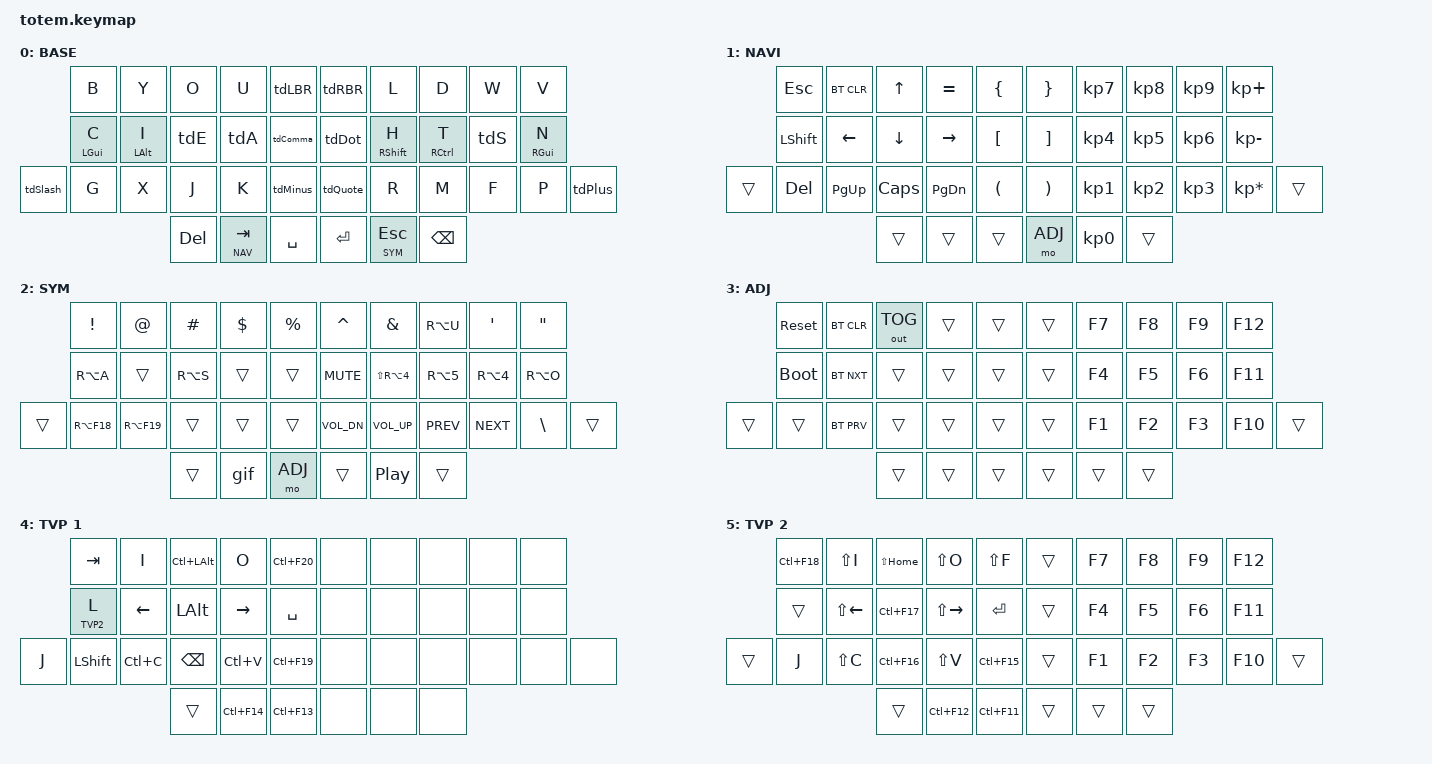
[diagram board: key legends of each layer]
//
//                                                        ▀▀▀▀▀     ▀▀▀▀▀          ▀▀█▀▀
//                                                        ▄▀▀▀▄  ▄  ▄▀▀▀▄  ▄  ▄▀▀▀▄  █  ▄▀▀▀▄
//                                                        █   █  █  █   █  █  █   █  █  █   █
//                                                         ▀▀▀   █   ▀▀▀   █   ▀▀▀   ▀   ▀▀▀
//                                                               █      ▄▄▄█▄▄▄    █   █  
//                                                               ▀      █  █  █     █▄█
//                                                             ▀▀▀▀▀    █  █  █      ▀
//                                                                      ▀  ▀  ▀
//
//                                                 ▗▄▄▄▖▗▖  ▗▖ ▗▄▄▖▗▄▄▖  ▗▄▖ ▗▖  ▗▖▗▖  ▗▖▗▄▄▄▖▗▄▄▖ 
//                                                 ▐▌   ▐▛▚▖▐▌▐▌   ▐▌ ▐▌▐▌ ▐▌▐▛▚▞▜▌▐▛▚▞▜▌▐▌   ▐▌ ▐▌
//                                                 ▐▛▀▀▘▐▌ ▝▜▌▐▌▝▜▌▐▛▀▚▖▐▛▀▜▌▐▌  ▐▌▐▌  ▐▌▐▛▀▀▘▐▛▀▚▖
//                                                 ▐▙▄▄▖▐▌  ▐▌▝▚▄▞▘▐▌ ▐▌▐▌ ▐▌▐▌  ▐▌▐▌  ▐▌▐▙▄▄▖▐▌ ▐▌
//                                                    
//                                                    
//            
// ▄▄▄▄▄▄▄▄▄▄▄▄▄▄▄▄▄▄▄▄▄▄▄▄▄▄▄▄▄▄▄▄▄▄▄▄▄▄▄▄▄▄▄▄▄▄▄▄▄▄▄▄▄▄▄▄▄▄▄▄▄▄▄▄▄▄▄▄▄▄▄▄▄▄▄▄▄▄▄▄▄▄▄▄▄▄▄▄▄▄▄▄▄▄▄▄▄▄▄▄▄▄▄▄▄▄▄▄▄▄▄▄▄▄▄▄▄▄▄▄▄▄▄▄▄▄▄▄▄▄▄▄▄▄▄▄▄▄▄▄▄▄▄▄▄▄▄▄▄
       

#include <behaviors.dtsi>
#include <dt-bindings/zmk/keys.h>
#include <dt-bindings/zmk/bt.h>
#include <dt-bindings/zmk/outputs.h>

#define BASE 0
#define NAV  1
#define SYM  2
#define ADJ  3
#define TVP1 4
#define TVP2 5

&mt {
  quick-tap-ms = <100>;
  flavor = "tap-preferred";
  tapping-term-ms = <250>;
};

/ {
     combos {
            compatible = "zmk,combos";
            // Combo recipe:
            // 1. Pick a unique name.
            // 2. Find the physical key positions from the bindings list below.
            // 3. Set bindings to the output you want.
            // 4. Optionally restrict the combo to one or more layers.
            combo_esc {
                timeout-ms = <50>;
                key-positions = <0 1>;
                bindings = <&kp ESC>;
            };
            // W + K -> Q on the base layer.
            // Position 1 is the second key on the left half top row.
            // Position 26 is the second key on the right half bottom row.
            combo_q_from_w_k {
                // Both keys must be pressed within this window.
                timeout-ms = <50>;
                // Use physical positions, not keycodes.
                key-positions = <1 24>;
                // Limit this combo to the base layer only.
                layers = <BASE>;
                // Send Q when the combo is detected.
                bindings = <&kp Q>;
            };

            combo_z_from_d_s {
                timeout-ms = <50>;
                key-positions = <7 18>;
                layers = <BASE>;
                bindings = <&kp Z>;
            };

            combo_semicolon_from_comma_dot {
                timeout-ms = <50>;
                key-positions = <14 15>;
                layers = <BASE>;
                bindings = <&kp SEMI>;
            };

            combo_tvp {
                timeout-ms = <100>;
                key-positions = <11 12 13>;
                bindings = <&tog TVP1>;
            };




    };

    behaviors {
        tdA: tap_dance_A {
            compatible = "zmk,behavior-tap-dance";
            #binding-cells = <0>;
            tapping-term-ms = <200>;
            bindings = <&mt LSHFT A>, <&kp AT>;
        };

        tdS: tap_dance_S {
            compatible = "zmk,behavior-tap-dance";
            #binding-cells = <0>;
            tapping-term-ms = <200>;
            bindings = <&mt RALT S>, <&kp DOLLAR>;
        };

        tdLBR: tap_dance_left_Braces {
            compatible = "zmk,behavior-tap-dance";
            #binding-cells = <0>;
            tapping-term-ms = <200>;
            bindings = <&kp LEFT_BRACE>, <&kp LEFT_BRACKET>, <&kp LEFT_PARENTHESIS>, <&kp LESS_THAN>;
        };

        tdRBR: tap_dance_right_Braces {
            compatible = "zmk,behavior-tap-dance";
            #binding-cells = <0>;
            tapping-term-ms = <200>;
            bindings = <&kp RIGHT_BRACE>, <&kp RIGHT_BRACKET>, <&kp RIGHT_PARENTHESIS>, <&kp GREATER_THAN>;
        };

        tdDot: tap_dance_dot {
            compatible = "zmk,behavior-tap-dance";
            #binding-cells = <0>;
            tapping-term-ms = <200>;
            bindings = <&kp DOT>, <&kp EXCL>, <&kp QUESTION>;
        };

        tdComma: tap_dance_comma {
            compatible = "zmk,behavior-tap-dance";
            #binding-cells = <0>;
            tapping-term-ms = <200>;
            bindings = <&kp COMMA>, <&kp SEMI>;
        };

        tdMinus: tap_dance_minus {
            compatible = "zmk,behavior-tap-dance";
            #binding-cells = <0>;
            tapping-term-ms = <200>;
            bindings = <&kp MINUS>, <&kp UNDERSCORE>, <&kp EQUAL>;
        };

        tdQuote: tap_dance_quote {
            compatible = "zmk,behavior-tap-dance";
            #binding-cells = <0>;
            tapping-term-ms = <200>;
            bindings = <&kp SQT>, <&kp DQT>, <&kp GRAVE>;
        };

        tdE: tap_dance_E {
            compatible = "zmk,behavior-tap-dance";
            #binding-cells = <0>;
            tapping-term-ms = <200>;
            bindings = <&mt LCTRL E>, <&kp END>;
        };

        tdSlash: tap_dance_slash {
            compatible = "zmk,behavior-tap-dance";
            #binding-cells = <0>;
            tapping-term-ms = <200>;
            bindings = <&kp PIPE>, <&kp BSLH>, <&kp FSLH>;
        };

        tdPlus: tap_dance_plus {
            compatible = "zmk,behavior-tap-dance";
            #binding-cells = <0>;
            tapping-term-ms = <200>;
            bindings = <&kp PLUS>, <&kp STAR>;
        };

    };

    macros {
        gif: gif {
            compatible = "zmk,behavior-macro";
            #binding-cells = <0>;
            bindings
                = <&macro_press &kp LSHFT>
                , <&macro_tap &kp N2>
                , <&macro_release &kp LSHFT>
                , <&macro_tap &kp G &kp I &kp F>
                ;
        };

        copy: copy {
            compatible = "zmk,behavior-macro";
            #binding-cells = <0>;
            bindings
                = <&macro_tap &kp LC(C)>;
        };
    };

        keymap {
                compatible = "zmk,keymap";
// ▄▄▄▄▄▄▄▄▄▄▄▄▄▄▄▄▄▄▄▄▄▄▄▄▄▄▄▄▄▄▄▄▄▄▄▄▄▄▄▄▄▄▄▄▄▄▄▄▄▄▄▄▄▄▄▄▄▄▄▄▄▄▄▄▄▄▄▄▄▄▄▄▄▄▄▄▄▄▄▄▄▄▄▄▄▄▄▄▄▄▄▄▄▄▄▄▄▄▄▄▄▄▄▄▄▄▄▄▄▄▄▄▄▄▄▄▄▄▄▄▄▄▄▄▄▄▄▄▄▄▄▄▄▄▄▄▄▄▄▄▄▄▄▄▄▄▄▄▄

                base_layer {
// ┏━━━━━━━━━━━━━━━━━━━━━━━━━━━━━━━━━━━━━━━┓
display-name= "BASE"                              ;
// ┗━━━━━━━━━━━━━━━━━━━━━━━━━━━━━━━━━━━━━━━┛
//             ┏━━━━━━━━━━━┳━━━━━━━━━━━┳━━━━━━━━━━━┳━━━━━━━━━━━┳━━━━━━━━━━━┓   ┏━━━━━━━━━━━┳━━━━━━━━━━━┳━━━━━━━━━━━┳━━━━━━━━━━━┳━━━━━━━━━━━┓
//             ┃     B     ┃     Y     ┃     O     ┃     U     ┃     {     ┃   ┃     }     ┃     L     ┃     D     ┃     W     ┃     V     ┃
//             ┣━━━━━━━━━━━╋━━━━━━━━━━━╋━━━━━━━━━━━╋━━━━━━━━━━━╋━━━━━━━━━━━┫   ┣━━━━━━━━━━━╋━━━━━━━━━━━╋━━━━━━━━━━━╋━━━━━━━━━━━╋━━━━━━━━━━━┫
//             ┃     C     ┃     I     ┃     E     ┃     A     ┃     ,     ┃   ┃     .     ┃     H     ┃     T     ┃     S     ┃     N     ┃
// ┏━━━━━━━━━━━╋━━━━━━━━━━━╋━━━━━━━━━━━╋━━━━━━━━━━━╋━━━━━━━━━━━╋━━━━━━━━━━━┫   ┣━━━━━━━━━━━╋━━━━━━━━━━━╋━━━━━━━━━━━╋━━━━━━━━━━━╋━━━━━━━━━━━╋━━━━━━━━━━━┓
// ┃  LSHFT    ┃     G     ┃     X     ┃     J     ┃     K     ┃     -     ┃   ┃     "     ┃     R     ┃     M     ┃     F     ┃     P     ┃   RSHFT   ┃
// ┗━━━━━━━━━━━┻━━━━━━━━━━━┻━━━━━━━━━━━╋━━━━━━━━━━━╋━━━━━━━━━━━╋━━━━━━━━━━━┫   ┣━━━━━━━━━━━╋━━━━━━━━━━━╋━━━━━━━━━━━╋━━━━━━━━━━━┻━━━━━━━━━━━┻━━━━━━━━━━━┛
//                                     ┃    DEL    ┃    TAB    ┃    SPC    ┃   ┃   ENTER   ┃           ┃   BSPC    ┃
//                                     ┗━━━━━━━━━━━┻━━━━━━━━━━━┻━━━━━━━━━━━┛   ┗━━━━━━━━━━━┻━━━━━━━━━━━┻━━━━━━━━━━━┛
 bindings = <
// ╷           ╷           ╷           ╷           ╷           ╷           ╷   ╷           ╷           ╷           ╷           ╷           ╷           ╷

                &kp B       &kp Y       &kp O       &kp U       &tdLBR          &tdRBR     &kp L       &kp D       &kp W       &kp V
                &mt LGUI C  &mt LALT I  &tdE        &tdA        &tdComma        &tdDot     &mt RSHFT H &mt RCTRL T &tdS  &mt RGUI N
    &tdSlash    &kp G       &kp X       &kp J       &kp K       &tdMinus        &tdQuote   &kp R       &kp M       &kp F       &kp P    &tdPlus
                                        &kp DEL     &lt NAV TAB   &kp SPACE     &kp RET    &lt SYM ESC   &kp BSPC
                        >;
                };

// ▄▄▄▄▄▄▄▄▄▄▄▄▄▄▄▄▄▄▄▄▄▄▄▄▄▄▄▄▄▄▄▄▄▄▄▄▄▄▄▄▄▄▄▄▄▄▄▄▄▄▄▄▄▄▄▄▄▄▄▄▄▄▄▄▄▄▄▄▄▄▄▄▄▄▄▄▄▄▄▄▄▄▄▄▄▄▄▄▄▄▄▄▄▄▄▄▄▄▄▄▄▄▄▄▄▄▄▄▄▄▄▄▄▄▄▄▄▄▄▄▄▄▄▄▄▄▄▄▄▄▄▄▄▄▄▄▄▄▄▄▄▄▄▄▄▄▄▄▄


                nav_layer {
// ┏━━━━━━━━━━━━━━━━━━━━━━━━━━━━━━━━━━━━━━━┓
display-name= "NAVI"                              ;
// ┗━━━━━━━━━━━━━━━━━━━━━━━━━━━━━━━━━━━━━━━┛
//             ┏━━━━━━━━━━━┳━━━━━━━━━━━┳━━━━━━━━━━━┳━━━━━━━━━━━┳━━━━━━━━━━━┓   ┏━━━━━━━━━━━┳━━━━━━━━━━━┳━━━━━━━━━━━┳━━━━━━━━━━━┳━━━━━━━━━━━┓
//             ┃           ┃           ┃     UP    ┃           ┃     {     ┃   ┃     }     ┃     7     ┃     8     ┃     9     ┃     +     ┃
//             ┣━━━━━━━━━━━╋━━━━━━━━━━━╋━━━━━━━━━━━╋━━━━━━━━━━━╋━━━━━━━━━━━┫   ┣━━━━━━━━━━━╋━━━━━━━━━━━╋━━━━━━━━━━━╋━━━━━━━━━━━╋━━━━━━━━━━━┫
//             ┃   SHIFT   ┃   LEFT    ┃    DOWN   ┃   RIGHT   ┃     [     ┃   ┃     ]     ┃     4     ┃     5     ┃     6     ┃     -     ┃
// ┏━━━━━━━━━━━╋━━━━━━━━━━━╋━━━━━━━━━━━╋━━━━━━━━━━━╋━━━━━━━━━━━╋━━━━━━━━━━━┫   ┣━━━━━━━━━━━╋━━━━━━━━━━━╋━━━━━━━━━━━╋━━━━━━━━━━━╋━━━━━━━━━━━╋━━━━━━━━━━━┓
// ┃           ┃           ┃   P UP    ┃  C LOCK   ┃  P DOWN   ┃     (     ┃   ┃     )     ┃     1     ┃     2     ┃     3     ┃     *     ┃           ┃
// ┗━━━━━━━━━━━┻━━━━━━━━━━━┻━━━━━━━━━━━╋━━━━━━━━━━━╋━━━━━━━━━━━╋━━━━━━━━━━━┫   ┣━━━━━━━━━━━╋━━━━━━━━━━━╋━━━━━━━━━━━╋━━━━━━━━━━━┻━━━━━━━━━━━┻━━━━━━━━━━━┛
//                                     ┃           ┃    TAB    ┃    SPC    ┃   ┃    DEL    ┃     0     ┃           ┃
//                                     ┗━━━━━━━━━━━┻━━━━━━━━━━━┻━━━━━━━━━━━┛   ┗━━━━━━━━━━━┻━━━━━━━━━━━┻━━━━━━━━━━━┛
 bindings = <
// ╷           ╷           ╷           ╷           ╷           ╷           ╷   ╷           ╷           ╷           ╷           ╷           ╷           ╷

                &kp ESC     &bt BT_CLR  &kp UP      &kp EQUAL   &kp LBRC        &kp RBRC    &kp KP_N7   &kp KP_N8   &kp KP_N9   &kp KP_PLUS
                &kp LSHFT   &kp LEFT    &kp DOWN    &kp RIGHT   &kp LBKT        &kp RBKT    &kp KP_N4   &kp KP_N5   &kp KP_N6   &kp KP_MINUS
    &trans      &kp DEL     &kp PG_UP   &kp CAPS    &kp PG_DN   &kp LPAR        &kp RPAR    &kp KP_N1   &kp KP_N2   &kp KP_N3   &kp KP_MULTIPLY &trans      
                                        &trans      &trans      &trans          &mo ADJ     &kp KP_N0   &trans      
                        >;
                };

// ▄▄▄▄▄▄▄▄▄▄▄▄▄▄▄▄▄▄▄▄▄▄▄▄▄▄▄▄▄▄▄▄▄▄▄▄▄▄▄▄▄▄▄▄▄▄▄▄▄▄▄▄▄▄▄▄▄▄▄▄▄▄▄▄▄▄▄▄▄▄▄▄▄▄▄▄▄▄▄▄▄▄▄▄▄▄▄▄▄▄▄▄▄▄▄▄▄▄▄▄▄▄▄▄▄▄▄▄▄▄▄▄▄▄▄▄▄▄▄▄▄▄▄▄▄▄▄▄▄▄▄▄▄▄▄▄▄▄▄▄▄▄▄▄▄▄▄▄▄


                sim_layer {
// ┏━━━━━━━━━━━━━━━━━━━━━━━━━━━━━━━━━━━━━━━┓
display-name= "SYM"                               ;
// ┗━━━━━━━━━━━━━━━━━━━━━━━━━━━━━━━━━━━━━━━┛
//             ┏━━━━━━━━━━━┳━━━━━━━━━━━┳━━━━━━━━━━━┳━━━━━━━━━━━┳━━━━━━━━━━━┓   ┏━━━━━━━━━━━┳━━━━━━━━━━━┳━━━━━━━━━━━┳━━━━━━━━━━━┳━━━━━━━━━━━┓
//             ┃     !     ┃     @     ┃     #     ┃     $     ┃     %     ┃   ┃     ˆ     ┃     &     ┃     Ü     ┃     '     ┃     "     ┃
//             ┣━━━━━━━━━━━╋━━━━━━━━━━━╋━━━━━━━━━━━╋━━━━━━━━━━━╋━━━━━━━━━━━┫   ┣━━━━━━━━━━━╋━━━━━━━━━━━╋━━━━━━━━━━━╋━━━━━━━━━━━╋━━━━━━━━━━━┫
//             ┃     Ä     ┃           ┃    SZ     ┃           ┃           ┃   ┃   MUTE    ┃   YEN     ┃   EURO    ┃  POUND    ┃     Ö     ┃
// ┏━━━━━━━━━━━╋━━━━━━━━━━━╋━━━━━━━━━━━╋━━━━━━━━━━━╋━━━━━━━━━━━╋━━━━━━━━━━━┫   ┣━━━━━━━━━━━╋━━━━━━━━━━━╋━━━━━━━━━━━╋━━━━━━━━━━━╋━━━━━━━━━━━╋━━━━━━━━━━━┓
// ┃           ┃  EMAIL1   ┃  EMAIL2   ┃           ┃           ┃           ┃   ┃   VOL-    ┃   VOL+    ┃   LAST    ┃   NEXT    ┃     \     ┃           ┃
// ┗━━━━━━━━━━━┻━━━━━━━━━━━┻━━━━━━━━━━━╋━━━━━━━━━━━╋━━━━━━━━━━━╋━━━━━━━━━━━┫   ┣━━━━━━━━━━━╋━━━━━━━━━━━╋━━━━━━━━━━━╋━━━━━━━━━━━┻━━━━━━━━━━━┻━━━━━━━━━━━┛
//                                     ┃           ┃    GIF    ┃    ADJ    ┃   ┃           ┃           ┃           ┃
//                                     ┗━━━━━━━━━━━┻━━━━━━━━━━━┻━━━━━━━━━━━┛   ┗━━━━━━━━━━━┻━━━━━━━━━━━┻━━━━━━━━━━━┛
 bindings = <
// ╷           ╷           ╷           ╷           ╷           ╷           ╷   ╷           ╷           ╷           ╷           ╷           ╷           ╷

                &kp EXCL    &kp AT      &kp HASH    &kp DLLR    &kp PRCNT       &kp CARET   &kp AMPS    &kp RA(U)   &kp SQT     &kp DQT       
                &kp RA(A)   &trans      &kp RA(S)   &trans      &trans          &kp C_MUTE  &kp LS(RA(N4)) &kp RA(N5) &kp RA(N4)   &kp RA(O) 
    &trans      &kp RA(F18) &kp RA(F19) &trans      &trans      &trans          &kp C_VOL_DN &kp C_VOL_UP &kp C_PREV &kp C_NEXT  &kp BSLH   &trans         
                                        &trans      &gif        &mo ADJ         &trans      &kp C_PP    &trans      
                        >;
                };

// ▄▄▄▄▄▄▄▄▄▄▄▄▄▄▄▄▄▄▄▄▄▄▄▄▄▄▄▄▄▄▄▄▄▄▄▄▄▄▄▄▄▄▄▄▄▄▄▄▄▄▄▄▄▄▄▄▄▄▄▄▄▄▄▄▄▄▄▄▄▄▄▄▄▄▄▄▄▄▄▄▄▄▄▄▄▄▄▄▄▄▄▄▄▄▄▄▄▄▄▄▄▄▄▄▄▄▄▄▄▄▄▄▄▄▄▄▄▄▄▄▄▄▄▄▄▄▄▄▄▄▄▄▄▄▄▄▄▄▄▄▄▄▄▄▄▄▄▄▄


                adjust_layer {
// ┏━━━━━━━━━━━━━━━━━━━━━━━━━━━━━━━━━━━━━━━┓
display-name= "ADJ"                               ;
// ┗━━━━━━━━━━━━━━━━━━━━━━━━━━━━━━━━━━━━━━━┛
//             ┏━━━━━━━━━━━┳━━━━━━━━━━━┳━━━━━━━━━━━┳━━━━━━━━━━━┳━━━━━━━━━━━┓   ┏━━━━━━━━━━━┳━━━━━━━━━━━┳━━━━━━━━━━━┳━━━━━━━━━━━┳━━━━━━━━━━━┓
//             ┃   RESET   ┃ BT CLEAR  ┃  OUT TOG  ┃           ┃           ┃   ┃           ┃    F7     ┃    F8     ┃    F9     ┃    F12    ┃
//             ┣━━━━━━━━━━━╋━━━━━━━━━━━╋━━━━━━━━━━━╋━━━━━━━━━━━╋━━━━━━━━━━━┫   ┣━━━━━━━━━━━╋━━━━━━━━━━━╋━━━━━━━━━━━╋━━━━━━━━━━━╋━━━━━━━━━━━┫
//             ┃ BOOTLOAD  ┃ BT NEXT   ┃           ┃           ┃           ┃   ┃           ┃    F4     ┃    F5     ┃    F6     ┃    F11    ┃
// ┏━━━━━━━━━━━╋━━━━━━━━━━━╋━━━━━━━━━━━╋━━━━━━━━━━━╋━━━━━━━━━━━╋━━━━━━━━━━━┫   ┣━━━━━━━━━━━╋━━━━━━━━━━━╋━━━━━━━━━━━╋━━━━━━━━━━━╋━━━━━━━━━━━╋━━━━━━━━━━━┓
// ┃           ┃           ┃ BT PREV   ┃           ┃           ┃           ┃   ┃           ┃    F1     ┃    F2     ┃    F3     ┃    F10    ┃           ┃
// ┗━━━━━━━━━━━┻━━━━━━━━━━━┻━━━━━━━━━━━╋━━━━━━━━━━━╋━━━━━━━━━━━╋━━━━━━━━━━━┫   ┣━━━━━━━━━━━╋━━━━━━━━━━━╋━━━━━━━━━━━╋━━━━━━━━━━━┻━━━━━━━━━━━┻━━━━━━━━━━━┛
//                                     ┃           ┃           ┃           ┃   ┃           ┃           ┃           ┃
//                                     ┗━━━━━━━━━━━┻━━━━━━━━━━━┻━━━━━━━━━━━┛   ┗━━━━━━━━━━━┻━━━━━━━━━━━┻━━━━━━━━━━━┛
 bindings = <
// ╷           ╷           ╷           ╷           ╷           ╷           ╷   ╷           ╷           ╷           ╷           ╷           ╷           ╷

                &sys_reset  &bt BT_CLR &out OUT_TOG &trans      &trans          &trans      &kp F7      &kp F8      &kp F9      &kp F12
                &bootloader &bt BT_NXT  &trans      &trans      &trans          &trans      &kp F4      &kp F5      &kp F6      &kp F11  
    &trans      &trans      &bt BT_PRV  &trans      &trans      &trans          &trans      &kp F1      &kp F2      &kp F3      &kp F10     &trans         
                                        &trans      &trans      &trans          &trans      &trans      &trans      
                        >;
                };

// ▄▄▄▄▄▄▄▄▄▄▄▄▄▄▄▄▄▄▄▄▄▄▄▄▄▄▄▄▄▄▄▄▄▄▄▄▄▄▄▄▄▄▄▄▄▄▄▄▄▄▄▄▄▄▄▄▄▄▄▄▄▄▄▄▄▄▄▄▄▄▄▄▄▄▄▄▄▄▄▄▄▄▄▄▄▄▄▄▄▄▄▄▄▄▄▄▄▄▄▄▄▄▄▄▄▄▄▄▄▄▄▄▄▄▄▄▄▄▄▄▄▄▄▄▄▄▄▄▄▄▄▄▄▄▄▄▄▄▄▄▄▄▄▄▄▄▄▄▄


                tvp1_layer {
// ┏━━━━━━━━━━━━━━━━━━━━━━━━━━━━━━━━━━━━━━━┓
display-name= "TVP 1"                             ;
// ┗━━━━━━━━━━━━━━━━━━━━━━━━━━━━━━━━━━━━━━━┛
//             ┏━━━━━━━━━━━┳━━━━━━━━━━━┳━━━━━━━━━━━┳━━━━━━━━━━━┳━━━━━━━━━━━┓   ┏━━━━━━━━━━━┳━━━━━━━━━━━┳━━━━━━━━━━━┳━━━━━━━━━━━┳━━━━━━━━━━━┓
//             ┃ NEXT FILE ┃ MARK IN   ┃ ROTATE    ┃ MARK OUT  ┃ SHOW SNAP ┃   ┃           ┃           ┃           ┃           ┃           ┃
//             ┣━━━━━━━━━━━╋━━━━━━━━━━━╋━━━━━━━━━━━╋━━━━━━━━━━━╋━━━━━━━━━━━┫   ┣━━━━━━━━━━━╋━━━━━━━━━━━╋━━━━━━━━━━━╋━━━━━━━━━━━╋━━━━━━━━━━━┫
//             ┃ TVP II    ┃ LEFT      ┃ PAN       ┃ RIGHT     ┃ PLAY/FLIP ┃   ┃           ┃           ┃           ┃           ┃           ┃
// ┏━━━━━━━━━━━╋━━━━━━━━━━━╋━━━━━━━━━━━╋━━━━━━━━━━━╋━━━━━━━━━━━╋━━━━━━━━━━━┫   ┣━━━━━━━━━━━╋━━━━━━━━━━━╋━━━━━━━━━━━╋━━━━━━━━━━━╋━━━━━━━━━━━╋━━━━━━━━━━━┓
// ┃ FULLSCR   ┃ SHIFT     ┃ COPY      ┃ DELETE    ┃ PASTE     ┃ IMG MARK  ┃   ┃           ┃           ┃           ┃           ┃           ┃           ┃
// ┗━━━━━━━━━━━┻━━━━━━━━━━━┻━━━━━━━━━━━╋━━━━━━━━━━━╋━━━━━━━━━━━╋━━━━━━━━━━━┫   ┣━━━━━━━━━━━╋━━━━━━━━━━━╋━━━━━━━━━━━╋━━━━━━━━━━━┻━━━━━━━━━━━┻━━━━━━━━━━━┛
//                                     ┃           ┃ UNDO/SAVE ┃  SEL/MOV  ┃   ┃           ┃           ┃           ┃
//                                     ┗━━━━━━━━━━━┻━━━━━━━━━━━┻━━━━━━━━━━━┛   ┗━━━━━━━━━━━┻━━━━━━━━━━━┻━━━━━━━━━━━┛
 bindings = <
// ╷           ╷           ╷           ╷           ╷           ╷           ╷   ╷           ╷           ╷           ╷           ╷           ╷           ╷

                &kp TAB     &kp I       &kp LC(LALT) &kp O      &kp LC(F20)     &none       &none       &none       &none       &none
                &lt TVP2 L  &kp LEFT    &kp LALT    &kp RIGHT   &kp SPACE       &none       &none       &none       &none       &none
    &kp J       &kp LSHFT   &kp LC(C)   &kp BSPC    &kp LC(V)   &kp LC(F19)     &none       &none       &none       &none       &none       &none        
                                        &trans      &kp LC(F14) &kp LC(F13)     &none       &none       &none    
                        >;
                };

// ▄▄▄▄▄▄▄▄▄▄▄▄▄▄▄▄▄▄▄▄▄▄▄▄▄▄▄▄▄▄▄▄▄▄▄▄▄▄▄▄▄▄▄▄▄▄▄▄▄▄▄▄▄▄▄▄▄▄▄▄▄▄▄▄▄▄▄▄▄▄▄▄▄▄▄▄▄▄▄▄▄▄▄▄▄▄▄▄▄▄▄▄▄▄▄▄▄▄▄▄▄▄▄▄▄▄▄▄▄▄▄▄▄▄▄▄▄▄▄▄▄▄▄▄▄▄▄▄▄▄▄▄▄▄▄▄▄▄▄▄▄▄▄▄▄▄▄▄▄


                tvp2_layer {
// ┏━━━━━━━━━━━━━━━━━━━━━━━━━━━━━━━━━━━━━━━┓
display-name= "TVP 2"                             ;
// ┗━━━━━━━━━━━━━━━━━━━━━━━━━━━━━━━━━━━━━━━┛
//             ┏━━━━━━━━━━━┳━━━━━━━━━━━┳━━━━━━━━━━━┳━━━━━━━━━━━┳━━━━━━━━━━━┓   ┏━━━━━━━━━━━┳━━━━━━━━━━━┳━━━━━━━━━━━┳━━━━━━━━━━━┳━━━━━━━━━━━┓
//             ┃ SOLO      ┃ TOGGLE IN ┃ RESET ROT ┃ TOGGLE OUT┃ TAKE SNAP ┃   ┃           ┃           ┃           ┃           ┃           ┃
//             ┣━━━━━━━━━━━╋━━━━━━━━━━━╋━━━━━━━━━━━╋━━━━━━━━━━━╋━━━━━━━━━━━┫   ┣━━━━━━━━━━━╋━━━━━━━━━━━╋━━━━━━━━━━━╋━━━━━━━━━━━╋━━━━━━━━━━━┫
//             ┃ ---       ┃ LAST KEY  ┃ NEW KEY   ┃ NEXT KEY  ┃ ENTER     ┃   ┃           ┃           ┃           ┃           ┃           ┃
// ┏━━━━━━━━━━━╋━━━━━━━━━━━╋━━━━━━━━━━━╋━━━━━━━━━━━╋━━━━━━━━━━━╋━━━━━━━━━━━┫   ┣━━━━━━━━━━━╋━━━━━━━━━━━╋━━━━━━━━━━━╋━━━━━━━━━━━╋━━━━━━━━━━━╋━━━━━━━━━━━┓
// ┃           ┃ FULLSCR   ┃ CPY2BRUSH ┃ DEL HEAD  ┃ PSTinPLACE┃ BOOK MARK ┃   ┃           ┃           ┃           ┃           ┃           ┃           ┃
// ┗━━━━━━━━━━━┻━━━━━━━━━━━┻━━━━━━━━━━━╋━━━━━━━━━━━╋━━━━━━━━━━━╋━━━━━━━━━━━┫   ┣━━━━━━━━━━━╋━━━━━━━━━━━╋━━━━━━━━━━━╋━━━━━━━━━━━┻━━━━━━━━━━━┻━━━━━━━━━━━┛
//                                     ┃           ┃ REDO/SAV1 ┃TRANS/WARP ┃   ┃           ┃           ┃           ┃
//                                     ┗━━━━━━━━━━━┻━━━━━━━━━━━┻━━━━━━━━━━━┛   ┗━━━━━━━━━━━┻━━━━━━━━━━━┻━━━━━━━━━━━┛
 bindings = <
// ╷           ╷           ╷           ╷           ╷           ╷           ╷   ╷           ╷           ╷           ╷           ╷           ╷           ╷

                &kp LC(F18) &kp LS(I)  &kp LS(HOME) &kp LS(O)   &kp LS(F)       &trans      &kp F7      &kp F8      &kp F9      &kp F12
                &trans      &kp LS(LEFT) &kp LC(F17) &kp LS(RIGHT) &kp RET      &trans      &kp F4      &kp F5      &kp F6      &kp F11  
    &trans      &kp J       &kp LS(C)   &kp LC(F16) &kp LS(V)   &kp LC(F15)     &trans      &kp F1      &kp F2      &kp F3      &kp F10     &trans         
                                        &trans      &kp LC(F12) &kp LC(F11)     &trans      &trans      &trans      
                        >;
                };
        };
};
